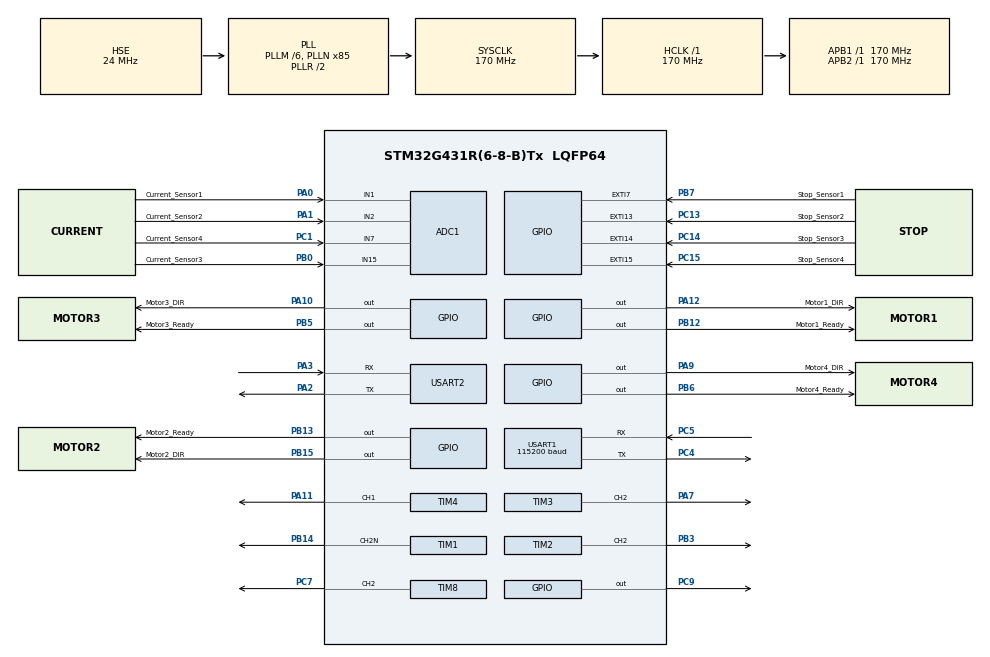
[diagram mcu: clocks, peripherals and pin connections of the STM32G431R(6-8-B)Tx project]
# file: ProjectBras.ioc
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ADC1.Channel-0\#ChannelRegularConversion=ADC_CHANNEL_1
ADC1.ContinuousConvMode=ENABLE
ADC1.EnableAnalogWatchDog2=true
ADC1.ExternalTrigConv=ADC_EXTERNALTRIG_T15_TRGO
ADC1.NbrOfConversion=1
ADC1.NbrOfConversionFlag=1
ADC1.OffsetNumber-0\#ChannelRegularConversion=ADC_OFFSET_NONE
ADC1.Rank-0\#ChannelRegularConversion=1
ADC1.SamplingTime-0\#ChannelRegularConversion=ADC_SAMPLETIME_47CYCLES_5
ADC1.master=1
Dma.ADC1.0.Direction=DMA_PERIPH_TO_MEMORY
Dma.ADC1.0.EventEnable=DISABLE
Dma.ADC1.0.Instance=DMA1_Channel1
Dma.ADC1.0.MemDataAlignment=DMA_MDATAALIGN_HALFWORD
Dma.ADC1.0.MemInc=DMA_MINC_ENABLE
Dma.ADC1.0.Mode=DMA_NORMAL
Dma.ADC1.0.PeriphDataAlignment=DMA_PDATAALIGN_HALFWORD
Dma.ADC1.0.PeriphInc=DMA_PINC_DISABLE
Dma.ADC1.0.Polarity=HAL_DMAMUX_REQ_GEN_RISING
Dma.ADC1.0.Priority=DMA_PRIORITY_LOW
Dma.ADC1.0.RequestNumber=1
Dma.ADC1.0.SignalID=NONE
Dma.ADC1.0.SyncEnable=DISABLE
Dma.ADC1.0.SyncPolarity=HAL_DMAMUX_SYNC_NO_EVENT
Dma.ADC1.0.SyncRequestNumber=1
Dma.ADC1.0.SyncSignalID=NONE
Dma.Request0=ADC1
Mcu.Family=STM32G4
Mcu.Name=STM32G431R(6-8-B)Tx
Mcu.Package=LQFP64
NVIC.DMA1_Channel1_IRQn=true\:0\:0\:false\:false\:true\:false\:true
NVIC.EXTI15_10_IRQn=true\:0\:0\:false\:false\:true\:true\:true
NVIC.EXTI9_5_IRQn=true\:0\:0\:false\:false\:true\:true\:true
NVIC.PriorityGroup=NVIC_PRIORITYGROUP_4
NVIC.TIM1_BRK_TIM15_IRQn=true\:0\:0\:false\:false\:true\:true\:true
NVIC.TIM1_CC_IRQn=true\:0\:0\:false\:false\:true\:true\:true
NVIC.TIM2_IRQn=true\:0\:0\:false\:false\:true\:true\:true
NVIC.TIM3_IRQn=true\:0\:0\:false\:false\:true\:true\:true
NVIC.TIM4_IRQn=true\:0\:0\:false\:false\:true\:true\:true
NVIC.TIM8_CC_IRQn=true\:0\:0\:false\:false\:true\:true\:true
NVIC.USART1_IRQn=true\:0\:0\:false\:false\:true\:true\:true
NVIC.USART2_IRQn=true\:0\:0\:false\:false\:true\:true\:true
PA0.GPIO_Label=Current_Sensor1
PA0.Mode=IN1-Single-Ended
PA0.Signal=ADC1_IN1
PA1.GPIO_Label=Current_Sensor2
PA1.Mode=IN2-Single-Ended
PA1.Signal=ADC1_IN2
PA10.GPIO_Label=Motor3_DIR
PA10.Signal=GPIO_Output
PA11.Signal=S_TIM4_CH1
PA12.GPIO_Label=Motor1_DIR
PA12.Signal=GPIO_Output
PA13.Mode=Serial_Wire
PA13.Signal=SYS_JTMS-SWDIO
PA14.Mode=Serial_Wire
PA14.Signal=SYS_JTCK-SWCLK
PA2.Mode=Asynchronous
PA2.Signal=USART2_TX
PA3.Mode=Asynchronous
PA3.Signal=USART2_RX
PA7.Signal=S_TIM3_CH2
PA9.GPIO_Label=Motor4_DIR
PA9.Signal=GPIO_Output
PB0.GPIO_Label=Current_Sensor3
PB0.Mode=IN15-Single-Ended
PB0.Signal=ADC1_IN15
PB12.GPIO_Label=Motor1_Ready
PB12.Signal=GPIO_Output
PB13.GPIO_Label=Motor2_Ready
PB13.Signal=GPIO_Output
PB14.Mode=PWM Generation2 CH2N
PB14.Signal=TIM1_CH2N
PB15.GPIO_Label=Motor2_DIR
PB15.Signal=GPIO_Output
PB3.Signal=S_TIM2_CH2
PB5.GPIO_Label=Motor3_Ready
PB5.Signal=GPIO_Output
PB6.GPIO_Label=Motor4_Ready
PB6.Signal=GPIO_Output
PB7.GPIO_Label=Stop_Sensor1
PB7.Signal=GPXTI7
PC1.GPIO_Label=Current_Sensor4
PC1.Mode=IN7-Single-Ended
PC1.Signal=ADC1_IN7
PC13.GPIO_Label=Stop_Sensor2
PC13.Signal=GPXTI13
PC14-OSC32_IN.GPIO_Label=Stop_Sensor3
PC14-OSC32_IN.Signal=GPXTI14
PC15-OSC32_OUT.GPIO_Label=Stop_Sensor4
PC15-OSC32_OUT.Signal=GPXTI15
PC4.Mode=Asynchronous
PC4.Signal=USART1_TX
PC5.Mode=Asynchronous
PC5.Signal=USART1_RX
PC7.Signal=S_TIM8_CH2
PC9.Signal=GPIO_Output
PF0-OSC_IN.Mode=HSE-External-Oscillator
PF0-OSC_IN.Signal=RCC_OSC_IN
PF1-OSC_OUT.Mode=HSE-External-Oscillator
PF1-OSC_OUT.Signal=RCC_OSC_OUT
ProjectManager.HeapSize=0x200
ProjectManager.StackSize=0x400
ProjectManager.TargetToolchain=STM32CubeIDE
RCC.ADC12Freq_Value=170000000
RCC.AHBFreq_Value=170000000
RCC.APB1Freq_Value=170000000
RCC.APB1TimFreq_Value=170000000
RCC.APB2Freq_Value=170000000
RCC.APB2TimFreq_Value=170000000
RCC.CortexFreq_Value=170000000
RCC.EXTERNAL_CLOCK_VALUE=12288000
RCC.HCLKFreq_Value=170000000
RCC.HSE_VALUE=24000000
RCC.HSI48_VALUE=48000000
RCC.HSI_VALUE=16000000
RCC.LSE_VALUE=32768
RCC.PLLM=RCC_PLLM_DIV6
RCC.PLLN=85
RCC.PLLSourceVirtual=RCC_PLLSOURCE_HSE
RCC.RTCClockSelection=RCC_RTCCLKSOURCE_LSE
RCC.SYSCLKFreq_VALUE=170000000
RCC.SYSCLKSource=RCC_SYSCLKSOURCE_PLLCLK
RCC.USBFreq_Value=170000000
RCC.VCOOutputFreq_Value=340000000
SH.S_TIM2_CH2.0=TIM2_CH2,PWM Generation2 CH2
SH.S_TIM3_CH2.0=TIM3_CH2,PWM Generation2 CH2
SH.S_TIM4_CH1.0=TIM4_CH1,PWM Generation1 CH1
SH.S_TIM8_CH2.0=TIM8_CH2,PWM Generation2 CH2
TIM1.Channel-PWM\ Generation2\ CH2N=TIM_CHANNEL_2
TIM1.PeriodNoDither=100-1
TIM1.Prescaler=170-1
TIM1.PulseNoDither_2=50
TIM15.PeriodNoDither=1000-1
TIM15.Prescaler=170-1
TIM15.TIM_MasterOutputTrigger=TIM_TRGO_UPDATE
TIM15.TIM_MasterSlaveMode=TIM_MASTERSLAVEMODE_ENABLE
TIM2.Channel-PWM\ Generation2\ CH2=TIM_CHANNEL_2
TIM2.PeriodNoDither=100-1
TIM2.Prescaler=170-1
TIM2.PulseNoDither_2=50
TIM3.Channel-PWM\ Generation2\ CH2=TIM_CHANNEL_2
TIM3.PeriodNoDither=10000-1
TIM3.Prescaler=340-1
TIM3.PulseNoDither_2=750
TIM4.Channel-PWM\ Generation1\ CH1=TIM_CHANNEL_1
TIM4.PeriodNoDither=100-1
TIM4.Prescaler=170-1
TIM4.PulseNoDither_1=50
TIM8.Channel-PWM\ Generation2\ CH2=TIM_CHANNEL_2
TIM8.PeriodNoDither=100-1
TIM8.Prescaler=170-1
TIM8.PulseNoDither_2=50
USART1.BaudRate=115200
USART1.VirtualMode-Asynchronous=VM_ASYNC
USART2.VirtualMode-Asynchronous=VM_ASYNC
VP_SYS_VS_DBSignals.Mode=DisableDeadBatterySignals
VP_TIM15_VS_ClockSourceINT.Mode=Internal
VP_TIM1_VS_ClockSourceINT.Mode=Internal
VP_TIM2_VS_ClockSourceINT.Mode=Internal
VP_TIM3_VS_ClockSourceINT.Mode=Internal
VP_TIM4_VS_ClockSourceINT.Mode=Internal
VP_TIM8_VS_ClockSourceINT.Mode=Internal
board=NUCLEO-G431RB

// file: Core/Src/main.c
/* USER CODE BEGIN Header */
/**
  ******************************************************************************
  * @file           : main.c
  * @brief          : Main program body
  * @author 		: COLONNETTE
  ******************************************************************************
  * @attention
  *
  * <h2><center>&copy; Copyright (c) 2021 STMicroelectronics.
  * All rights reserved.</center></h2>
  *
  * This software component is licensed by ST under BSD 3-Clause license,
  * the "License"; You may not use this file except in compliance with the
  * License. You may obtain a copy of the License at:
  *                        opensource.org/licenses/BSD-3-Clause
  *
  ******************************************************************************
  */
/* USER CODE END Header */
#include "main.h"

/* USER CODE BEGIN PD */
#define ADC_Buff_SIZE 10
/* USER CODE END PD */

ADC_HandleTypeDef hadc1;
DMA_HandleTypeDef hdma_adc1;

TIM_HandleTypeDef htim1;
TIM_HandleTypeDef htim2;
TIM_HandleTypeDef htim3;
TIM_HandleTypeDef htim4;
TIM_HandleTypeDef htim8;
TIM_HandleTypeDef htim15;

UART_HandleTypeDef huart1;
UART_HandleTypeDef huart2;

/* USER CODE BEGIN PV */
char esp_rx_buffer[32];
char esp_tx_buffer[32];
char CmdWaiting[10][6];
uint8_t idxByte=0;
uint8_t idxCmdWaiting=0;
uint8_t MsgFlag=0;
uint8_t MsgFlagLoad=0;

uint8_t Currentflag=0;
int courant=0;
uint16_t ADC_Buff[ADC_Buff_SIZE];
/* USER CODE END PV */

void SystemClock_Config(void);
static void MX_GPIO_Init(void);
static void MX_USART2_UART_Init(void);
static void MX_TIM1_Init(void);
static void MX_TIM2_Init(void);
static void MX_TIM3_Init(void);
static void MX_TIM4_Init(void);
static void MX_TIM8_Init(void);
static void MX_USART1_UART_Init(void);
static void MX_DMA_Init(void);
static void MX_ADC1_Init(void);
static void MX_TIM15_Init(void);

/* USER CODE BEGIN 0 */

/**
 * @param          :None
 * @retval		   :None
 * @brief          :Rençoit octet par octet, les morceaux de commande et les sauvegarde
 */
HAL_UART_RxCpltCallBack(UART_HandleTypeDef * uart) {
	sprintf((char *)uart_tx_buffer,"%s",esp_rx_buffer);
	HAL_UART_Transmit(&huart2, uart_tx_buffer, strlen(uart_tx_buffer), HAL_MAX_DELAY);

	/*
	sprintf((char *)CmdWaiting[idxCmdWaiting][idxByte],"%x",esp_rx_buffer);
	if (idxByte==5) {
		if (CmdWaiting[idxCmdWaiting][idxByte]=="OK")	MsgFlagLoad=1;
		else idxByte=0;
	}
	else if (MsgFlagLoad==1) {
		idxCmdWaiting++;
		idxByte=0;
	}
	else {
		idxByte++;
		if (idxByte==5) {
			MsgFlag=1;
		}
	}*/

	HAL_UART_Receive_IT(&huart1, esp_rx_buffer, 4);
}
/**
 * @param          :None
 * @retval		   :None
 * @brief          :Renvoit la commande reçue à valider d'un uart à l'autre et affiche la dernière commande validé
 */
void Response() {
	if (MsgFlag==1) {
		MsgFlag=0;
		/*sprintf((char *)esp_tx_buffer,"%s","CmdWaiting[idxCmdWaiting]");
		HAL_UART_Transmit(&huart1, esp_tx_buffer, strlen(esp_tx_buffer), HAL_MAX_DELAY);*/

		HAL_UART_Receive_IT(&huart1, esp_rx_buffer, 4);
	}
	else if (MsgFlagLoad==1) {
		MsgFlagLoad=0;
		sprintf((char *)esp_tx_buffer,"\r\nCmd reçu en hexa ");
		HAL_UART_Transmit(&huart2, esp_tx_buffer, strlen(esp_tx_buffer), HAL_MAX_DELAY);
		sprintf((char *)esp_tx_buffer,"%x %x %x %x %x %x ",CmdWaiting[0][0],CmdWaiting[0][1],CmdWaiting[0][2],CmdWaiting[0][3],CmdWaiting[0][4],CmdWaiting[0][5]);
		HAL_UART_Transmit(&huart2, esp_tx_buffer, strlen(esp_tx_buffer), HAL_MAX_DELAY);

		sprintf((char *)esp_tx_buffer,"\r\nCmd reçu en string ");
		HAL_UART_Transmit(&huart2, esp_tx_buffer, strlen(esp_tx_buffer), HAL_MAX_DELAY);
		sprintf((char *)esp_tx_buffer,"%s %s %s %s %s %s ",CmdWaiting[1][0],CmdWaiting[1][1],CmdWaiting[1][2],CmdWaiting[1][3],CmdWaiting[1][4],CmdWaiting[1][5]);
		HAL_UART_Transmit(&huart2, esp_tx_buffer, strlen(esp_tx_buffer), HAL_MAX_DELAY);

		sprintf((char *)esp_tx_buffer,"\r\nCmd reçu en deci ");
		HAL_UART_Transmit(&huart2, esp_tx_buffer, strlen(esp_tx_buffer), HAL_MAX_DELAY);
		sprintf((char *)esp_tx_buffer,"%d %d %d %d %d %d ",CmdWaiting[2][0],CmdWaiting[2][1],CmdWaiting[2][2],CmdWaiting[2][3],CmdWaiting[2][4],CmdWaiting[2][5]);
		HAL_UART_Transmit(&huart2, esp_tx_buffer, strlen(esp_tx_buffer), HAL_MAX_DELAY);
	}
}

void HAL_ADC_ConvCpltCallback(ADC_HandleTypeDef* hadc) {
	if (HAL_OK!=HAL_ADC_Start_DMA(&hadc1,ADC_Buff,ADC_Buff_SIZE)) Error_Handler();
	Currentflag=1;
}

/**
 * @param          :None
 * @retval		   :None
 * @brief          :Change les variables sauvegardant la moyenne des mesures de courant dès que le DMA à terminer
 * @attention
 * Cette fonction n'est pas encore opérationnelle
 */
void CurrentMeasure() {
	if (Currentflag==1) {
		courant=0;
		for (int idx=0;idx<ADC_Buff_SIZE;idx++) {
			courant=courant+ADC_Buff[idx];
		}
		courant=courant/ADC_Buff_SIZE;
		sprintf((char *)uart_tx_buffer,"\r\n%4d, V=%2.2f, i=%0.4fmA",courant,(float) ((float)courant*3.3)/4095.0,(float)(((float)courant*3.3)/4095)/12);
		HAL_UART_Transmit(&huart2, uart_tx_buffer, 26, HAL_MAX_DELAY);
		Currentflag=0;
	}
}
/**
 * @param          :None
 * @retval		   :None
 * @brief          :Exécute les commandes dans l'ordre sauvegardé par le buffer de commande en attente
 * @attention
 * Cette fonction n'est pas encore optimisée
 */
void ExecCmd() {
	while (idxCmdWaiting>0) {
		//CprCommande(CmdWaiting[idxCmdWaiting]);
		idxCmdWaiting--;
	}
}
/* USER CODE END 0 */

int main(void)
{

  /* MCU Configuration--------------------------------------------------------*/

  /* Reset of all peripherals, Initializes the Flash interface and the Systick. */
  HAL_Init();

  /* Configure the system clock */
  SystemClock_Config();

  /* Initialize all configured peripherals */
  MX_GPIO_Init();
  MX_USART2_UART_Init();
  MX_TIM1_Init();
  MX_TIM2_Init();
  MX_TIM3_Init();
  MX_TIM4_Init();
  MX_TIM8_Init();
  MX_USART1_UART_Init();
  MX_DMA_Init();
  MX_ADC1_Init();
  MX_TIM15_Init();
  /* USER CODE BEGIN 2 */
  if (HAL_OK!=HAL_ADCEx_Calibration_Start(&hadc1,ADC_SINGLE_ENDED)) Error_Handler();
  if (HAL_OK!=HAL_ADC_Start_DMA(&hadc1,ADC_Buff,ADC_Buff_SIZE)) Error_Handler();
  //La calibration du timer15 déclenchant le DMA est à affiner
  //if (HAL_OK!=HAL_TIM_Base_Start_IT(&htim15)) Error_Handler();

  Uartprint((char * ) starting,-1);
  Uartprint((char *) prompt,-1);

  MotorInit();
  HAL_UART_Receive_IT(&huart1, esp_rx_buffer,4);
  /* USER CODE END 2 */

  /* Infinite loop */
  /* USER CODE BEGIN WHILE */
  while (1)
  {
	  RunConsole();
	  HAL_UART_Receive_IT(&huart1, esp_rx_buffer,4);
	  if (MsgFlag==1) Response();
	  //CurrentMeasure();
	  //ExecCmd();

    /* USER CODE END WHILE */

  }
}

void SystemClock_Config(void)
{
  RCC_OscInitTypeDef RCC_OscInitStruct = {0};
  RCC_ClkInitTypeDef RCC_ClkInitStruct = {0};
  RCC_PeriphCLKInitTypeDef PeriphClkInit = {0};

  /** Configure the main internal regulator output voltage
  */
  HAL_PWREx_ControlVoltageScaling(PWR_REGULATOR_VOLTAGE_SCALE1_BOOST);
  /** Initializes the RCC Oscillators according to the specified parameters
  * in the RCC_OscInitTypeDef structure.
  */
  RCC_OscInitStruct.OscillatorType = RCC_OSCILLATORTYPE_HSE;
  RCC_OscInitStruct.HSEState = RCC_HSE_ON;
  RCC_OscInitStruct.PLL.PLLState = RCC_PLL_ON;
  RCC_OscInitStruct.PLL.PLLSource = RCC_PLLSOURCE_HSE;
  RCC_OscInitStruct.PLL.PLLM = RCC_PLLM_DIV6;
  RCC_OscInitStruct.PLL.PLLN = 85;
  RCC_OscInitStruct.PLL.PLLP = RCC_PLLP_DIV2;
  RCC_OscInitStruct.PLL.PLLQ = RCC_PLLQ_DIV2;
  RCC_OscInitStruct.PLL.PLLR = RCC_PLLR_DIV2;
  if (HAL_RCC_OscConfig(&RCC_OscInitStruct) != HAL_OK)
  {
    Error_Handler();
  }
  /** Initializes the CPU, AHB and APB buses clocks
  */
  RCC_ClkInitStruct.ClockType = RCC_CLOCKTYPE_HCLK|RCC_CLOCKTYPE_SYSCLK
                              |RCC_CLOCKTYPE_PCLK1|RCC_CLOCKTYPE_PCLK2;
  RCC_ClkInitStruct.SYSCLKSource = RCC_SYSCLKSOURCE_PLLCLK;
  RCC_ClkInitStruct.AHBCLKDivider = RCC_SYSCLK_DIV1;
  RCC_ClkInitStruct.APB1CLKDivider = RCC_HCLK_DIV1;
  RCC_ClkInitStruct.APB2CLKDivider = RCC_HCLK_DIV1;

  if (HAL_RCC_ClockConfig(&RCC_ClkInitStruct, FLASH_LATENCY_4) != HAL_OK)
  {
    Error_Handler();
  }
  /** Initializes the peripherals clocks
  */
  PeriphClkInit.PeriphClockSelection = RCC_PERIPHCLK_USART1|RCC_PERIPHCLK_USART2
                              |RCC_PERIPHCLK_ADC12;
  PeriphClkInit.Usart1ClockSelection = RCC_USART1CLKSOURCE_PCLK2;
  PeriphClkInit.Usart2ClockSelection = RCC_USART2CLKSOURCE_PCLK1;
  PeriphClkInit.Adc12ClockSelection = RCC_ADC12CLKSOURCE_SYSCLK;
  if (HAL_RCCEx_PeriphCLKConfig(&PeriphClkInit) != HAL_OK)
  {
    Error_Handler();
  }
}

static void MX_ADC1_Init(void)
{

  ADC_MultiModeTypeDef multimode = {0};
  ADC_ChannelConfTypeDef sConfig = {0};

  /** Common config
  */
  hadc1.Instance = ADC1;
  hadc1.Init.ClockPrescaler = ADC_CLOCK_SYNC_PCLK_DIV4;
  hadc1.Init.Resolution = ADC_RESOLUTION_12B;
  hadc1.Init.DataAlign = ADC_DATAALIGN_RIGHT;
  hadc1.Init.GainCompensation = 0;
  hadc1.Init.ScanConvMode = ADC_SCAN_DISABLE;
  hadc1.Init.EOCSelection = ADC_EOC_SINGLE_CONV;
  hadc1.Init.LowPowerAutoWait = DISABLE;
  hadc1.Init.ContinuousConvMode = ENABLE;
  hadc1.Init.NbrOfConversion = 1;
  hadc1.Init.DiscontinuousConvMode = DISABLE;
  hadc1.Init.ExternalTrigConv = ADC_EXTERNALTRIG_T15_TRGO;
  hadc1.Init.ExternalTrigConvEdge = ADC_EXTERNALTRIGCONVEDGE_RISING;
  hadc1.Init.DMAContinuousRequests = DISABLE;
  hadc1.Init.Overrun = ADC_OVR_DATA_PRESERVED;
  hadc1.Init.OversamplingMode = DISABLE;
  if (HAL_ADC_Init(&hadc1) != HAL_OK)
  {
    Error_Handler();
  }
  /** Configure the ADC multi-mode
  */
  multimode.Mode = ADC_MODE_INDEPENDENT;
  if (HAL_ADCEx_MultiModeConfigChannel(&hadc1, &multimode) != HAL_OK)
  {
    Error_Handler();
  }
  /** Configure Regular Channel
  */
  sConfig.Channel = ADC_CHANNEL_1;
  sConfig.Rank = ADC_REGULAR_RANK_1;
  sConfig.SamplingTime = ADC_SAMPLETIME_47CYCLES_5;
  sConfig.SingleDiff = ADC_SINGLE_ENDED;
  sConfig.OffsetNumber = ADC_OFFSET_NONE;
  sConfig.Offset = 0;
  if (HAL_ADC_ConfigChannel(&hadc1, &sConfig) != HAL_OK)
  {
    Error_Handler();
  }

}

static void MX_TIM1_Init(void)
{

  TIM_ClockConfigTypeDef sClockSourceConfig = {0};
  TIM_MasterConfigTypeDef sMasterConfig = {0};
  TIM_OC_InitTypeDef sConfigOC = {0};
  TIM_BreakDeadTimeConfigTypeDef sBreakDeadTimeConfig = {0};

  htim1.Instance = TIM1;
  htim1.Init.Prescaler = 170-1;
  htim1.Init.CounterMode = TIM_COUNTERMODE_UP;
  htim1.Init.Period = 99;
  htim1.Init.ClockDivision = TIM_CLOCKDIVISION_DIV1;
  htim1.Init.RepetitionCounter = 0;
  htim1.Init.AutoReloadPreload = TIM_AUTORELOAD_PRELOAD_DISABLE;
  if (HAL_TIM_Base_Init(&htim1) != HAL_OK)
  {
    Error_Handler();
  }
  sClockSourceConfig.ClockSource = TIM_CLOCKSOURCE_INTERNAL;
  if (HAL_TIM_ConfigClockSource(&htim1, &sClockSourceConfig) != HAL_OK)
  {
    Error_Handler();
  }
  if (HAL_TIM_PWM_Init(&htim1) != HAL_OK)
  {
    Error_Handler();
  }
  sMasterConfig.MasterOutputTrigger = TIM_TRGO_RESET;
  sMasterConfig.MasterOutputTrigger2 = TIM_TRGO2_RESET;
  sMasterConfig.MasterSlaveMode = TIM_MASTERSLAVEMODE_DISABLE;
  if (HAL_TIMEx_MasterConfigSynchronization(&htim1, &sMasterConfig) != HAL_OK)
  {
    Error_Handler();
  }
  sConfigOC.OCMode = TIM_OCMODE_PWM1;
  sConfigOC.Pulse = 50;
  sConfigOC.OCPolarity = TIM_OCPOLARITY_HIGH;
  sConfigOC.OCNPolarity = TIM_OCNPOLARITY_HIGH;
  sConfigOC.OCFastMode = TIM_OCFAST_DISABLE;
  sConfigOC.OCIdleState = TIM_OCIDLESTATE_RESET;
  sConfigOC.OCNIdleState = TIM_OCNIDLESTATE_RESET;
  if (HAL_TIM_PWM_ConfigChannel(&htim1, &sConfigOC, TIM_CHANNEL_2) != HAL_OK)
  {
    Error_Handler();
  }
  sBreakDeadTimeConfig.OffStateRunMode = TIM_OSSR_DISABLE;
  sBreakDeadTimeConfig.OffStateIDLEMode = TIM_OSSI_DISABLE;
  sBreakDeadTimeConfig.LockLevel = TIM_LOCKLEVEL_OFF;
  sBreakDeadTimeConfig.DeadTime = 0;
  sBreakDeadTimeConfig.BreakState = TIM_BREAK_DISABLE;
  sBreakDeadTimeConfig.BreakPolarity = TIM_BREAKPOLARITY_HIGH;
  sBreakDeadTimeConfig.BreakFilter = 0;
  sBreakDeadTimeConfig.BreakAFMode = TIM_BREAK_AFMODE_INPUT;
  sBreakDeadTimeConfig.Break2State = TIM_BREAK2_DISABLE;
  sBreakDeadTimeConfig.Break2Polarity = TIM_BREAK2POLARITY_HIGH;
  sBreakDeadTimeConfig.Break2Filter = 0;
  sBreakDeadTimeConfig.Break2AFMode = TIM_BREAK_AFMODE_INPUT;
  sBreakDeadTimeConfig.AutomaticOutput = TIM_AUTOMATICOUTPUT_DISABLE;
  if (HAL_TIMEx_ConfigBreakDeadTime(&htim1, &sBreakDeadTimeConfig) != HAL_OK)
  {
    Error_Handler();
  }
  HAL_TIM_MspPostInit(&htim1);

}

static void MX_TIM2_Init(void)
{

  TIM_ClockConfigTypeDef sClockSourceConfig = {0};
  TIM_MasterConfigTypeDef sMasterConfig = {0};
  TIM_OC_InitTypeDef sConfigOC = {0};

  htim2.Instance = TIM2;
  htim2.Init.Prescaler = 170-1;
  htim2.Init.CounterMode = TIM_COUNTERMODE_UP;
  htim2.Init.Period = 99;
  htim2.Init.ClockDivision = TIM_CLOCKDIVISION_DIV1;
  htim2.Init.AutoReloadPreload = TIM_AUTORELOAD_PRELOAD_DISABLE;
  if (HAL_TIM_Base_Init(&htim2) != HAL_OK)
  {
    Error_Handler();
  }
  sClockSourceConfig.ClockSource = TIM_CLOCKSOURCE_INTERNAL;
  if (HAL_TIM_ConfigClockSource(&htim2, &sClockSourceConfig) != HAL_OK)
  {
    Error_Handler();
  }
  if (HAL_TIM_PWM_Init(&htim2) != HAL_OK)
  {
    Error_Handler();
  }
  sMasterConfig.MasterOutputTrigger = TIM_TRGO_RESET;
  sMasterConfig.MasterSlaveMode = TIM_MASTERSLAVEMODE_DISABLE;
  if (HAL_TIMEx_MasterConfigSynchronization(&htim2, &sMasterConfig) != HAL_OK)
  {
    Error_Handler();
  }
  sConfigOC.OCMode = TIM_OCMODE_PWM1;
  sConfigOC.Pulse = 50;
  sConfigOC.OCPolarity = TIM_OCPOLARITY_HIGH;
  sConfigOC.OCFastMode = TIM_OCFAST_DISABLE;
  if (HAL_TIM_PWM_ConfigChannel(&htim2, &sConfigOC, TIM_CHANNEL_2) != HAL_OK)
  {
    Error_Handler();
  }
  HAL_TIM_MspPostInit(&htim2);

}

static void MX_TIM3_Init(void)
{

  TIM_ClockConfigTypeDef sClockSourceConfig = {0};
  TIM_MasterConfigTypeDef sMasterConfig = {0};
  TIM_OC_InitTypeDef sConfigOC = {0};

  htim3.Instance = TIM3;
  htim3.Init.Prescaler = 340-1;
  htim3.Init.CounterMode = TIM_COUNTERMODE_UP;
  htim3.Init.Period = 9999;
  htim3.Init.ClockDivision = TIM_CLOCKDIVISION_DIV1;
  htim3.Init.AutoReloadPreload = TIM_AUTORELOAD_PRELOAD_DISABLE;
  if (HAL_TIM_Base_Init(&htim3) != HAL_OK)
  {
    Error_Handler();
  }
  sClockSourceConfig.ClockSource = TIM_CLOCKSOURCE_INTERNAL;
  if (HAL_TIM_ConfigClockSource(&htim3, &sClockSourceConfig) != HAL_OK)
  {
    Error_Handler();
  }
  if (HAL_TIM_PWM_Init(&htim3) != HAL_OK)
  {
    Error_Handler();
  }
  sMasterConfig.MasterOutputTrigger = TIM_TRGO_RESET;
  sMasterConfig.MasterSlaveMode = TIM_MASTERSLAVEMODE_DISABLE;
  if (HAL_TIMEx_MasterConfigSynchronization(&htim3, &sMasterConfig) != HAL_OK)
  {
    Error_Handler();
  }
  sConfigOC.OCMode = TIM_OCMODE_PWM1;
  sConfigOC.Pulse = 750;
  sConfigOC.OCPolarity = TIM_OCPOLARITY_HIGH;
  sConfigOC.OCFastMode = TIM_OCFAST_DISABLE;
  if (HAL_TIM_PWM_ConfigChannel(&htim3, &sConfigOC, TIM_CHANNEL_2) != HAL_OK)
  {
    Error_Handler();
  }
  HAL_TIM_MspPostInit(&htim3);

}

static void MX_TIM4_Init(void)
{

  TIM_ClockConfigTypeDef sClockSourceConfig = {0};
  TIM_MasterConfigTypeDef sMasterConfig = {0};
  TIM_OC_InitTypeDef sConfigOC = {0};

  htim4.Instance = TIM4;
  htim4.Init.Prescaler = 170-1;
  htim4.Init.CounterMode = TIM_COUNTERMODE_UP;
  htim4.Init.Period = 99;
  htim4.Init.ClockDivision = TIM_CLOCKDIVISION_DIV1;
  htim4.Init.AutoReloadPreload = TIM_AUTORELOAD_PRELOAD_DISABLE;
  if (HAL_TIM_Base_Init(&htim4) != HAL_OK)
  {
    Error_Handler();
  }
  sClockSourceConfig.ClockSource = TIM_CLOCKSOURCE_INTERNAL;
  if (HAL_TIM_ConfigClockSource(&htim4, &sClockSourceConfig) != HAL_OK)
  {
    Error_Handler();
  }
  if (HAL_TIM_PWM_Init(&htim4) != HAL_OK)
  {
    Error_Handler();
  }
  sMasterConfig.MasterOutputTrigger = TIM_TRGO_RESET;
  sMasterConfig.MasterSlaveMode = TIM_MASTERSLAVEMODE_DISABLE;
  if (HAL_TIMEx_MasterConfigSynchronization(&htim4, &sMasterConfig) != HAL_OK)
  {
    Error_Handler();
  }
  sConfigOC.OCMode = TIM_OCMODE_PWM1;
  sConfigOC.Pulse = 50;
  sConfigOC.OCPolarity = TIM_OCPOLARITY_HIGH;
  sConfigOC.OCFastMode = TIM_OCFAST_DISABLE;
  if (HAL_TIM_PWM_ConfigChannel(&htim4, &sConfigOC, TIM_CHANNEL_1) != HAL_OK)
  {
    Error_Handler();
  }
  HAL_TIM_MspPostInit(&htim4);

}

static void MX_TIM8_Init(void)
{

  TIM_ClockConfigTypeDef sClockSourceConfig = {0};
  TIM_MasterConfigTypeDef sMasterConfig = {0};
  TIM_OC_InitTypeDef sConfigOC = {0};
  TIM_BreakDeadTimeConfigTypeDef sBreakDeadTimeConfig = {0};

  htim8.Instance = TIM8;
  htim8.Init.Prescaler = 170-1;
  htim8.Init.CounterMode = TIM_COUNTERMODE_UP;
  htim8.Init.Period = 99;
  htim8.Init.ClockDivision = TIM_CLOCKDIVISION_DIV1;
  htim8.Init.RepetitionCounter = 0;
  htim8.Init.AutoReloadPreload = TIM_AUTORELOAD_PRELOAD_DISABLE;
  if (HAL_TIM_Base_Init(&htim8) != HAL_OK)
  {
    Error_Handler();
  }
  sClockSourceConfig.ClockSource = TIM_CLOCKSOURCE_INTERNAL;
  if (HAL_TIM_ConfigClockSource(&htim8, &sClockSourceConfig) != HAL_OK)
  {
    Error_Handler();
  }
  if (HAL_TIM_PWM_Init(&htim8) != HAL_OK)
  {
    Error_Handler();
  }
  sMasterConfig.MasterOutputTrigger = TIM_TRGO_RESET;
  sMasterConfig.MasterOutputTrigger2 = TIM_TRGO2_RESET;
  sMasterConfig.MasterSlaveMode = TIM_MASTERSLAVEMODE_DISABLE;
  if (HAL_TIMEx_MasterConfigSynchronization(&htim8, &sMasterConfig) != HAL_OK)
  {
    Error_Handler();
  }
  sConfigOC.OCMode = TIM_OCMODE_PWM1;
  sConfigOC.Pulse = 50;
  sConfigOC.OCPolarity = TIM_OCPOLARITY_HIGH;
  sConfigOC.OCNPolarity = TIM_OCNPOLARITY_HIGH;
  sConfigOC.OCFastMode = TIM_OCFAST_DISABLE;
  sConfigOC.OCIdleState = TIM_OCIDLESTATE_RESET;
  sConfigOC.OCNIdleState = TIM_OCNIDLESTATE_RESET;
  if (HAL_TIM_PWM_ConfigChannel(&htim8, &sConfigOC, TIM_CHANNEL_2) != HAL_OK)
  {
    Error_Handler();
  }
  sBreakDeadTimeConfig.OffStateRunMode = TIM_OSSR_DISABLE;
  sBreakDeadTimeConfig.OffStateIDLEMode = TIM_OSSI_DISABLE;
  sBreakDeadTimeConfig.LockLevel = TIM_LOCKLEVEL_OFF;
  sBreakDeadTimeConfig.DeadTime = 0;
  sBreakDeadTimeConfig.BreakState = TIM_BREAK_DISABLE;
  sBreakDeadTimeConfig.BreakPolarity = TIM_BREAKPOLARITY_HIGH;
  sBreakDeadTimeConfig.BreakFilter = 0;
  sBreakDeadTimeConfig.BreakAFMode = TIM_BREAK_AFMODE_INPUT;
  sBreakDeadTimeConfig.Break2State = TIM_BREAK2_DISABLE;
  sBreakDeadTimeConfig.Break2Polarity = TIM_BREAK2POLARITY_HIGH;
  sBreakDeadTimeConfig.Break2Filter = 0;
  sBreakDeadTimeConfig.Break2AFMode = TIM_BREAK_AFMODE_INPUT;
  sBreakDeadTimeConfig.AutomaticOutput = TIM_AUTOMATICOUTPUT_DISABLE;
  if (HAL_TIMEx_ConfigBreakDeadTime(&htim8, &sBreakDeadTimeConfig) != HAL_OK)
  {
    Error_Handler();
  }
  HAL_TIM_MspPostInit(&htim8);

}

static void MX_TIM15_Init(void)
{

  TIM_ClockConfigTypeDef sClockSourceConfig = {0};
  TIM_MasterConfigTypeDef sMasterConfig = {0};

  htim15.Instance = TIM15;
  htim15.Init.Prescaler = 170-1;
  htim15.Init.CounterMode = TIM_COUNTERMODE_UP;
  htim15.Init.Period = 999;
  htim15.Init.ClockDivision = TIM_CLOCKDIVISION_DIV1;
  htim15.Init.RepetitionCounter = 0;
  htim15.Init.AutoReloadPreload = TIM_AUTORELOAD_PRELOAD_DISABLE;
  if (HAL_TIM_Base_Init(&htim15) != HAL_OK)
  {
    Error_Handler();
  }
  sClockSourceConfig.ClockSource = TIM_CLOCKSOURCE_INTERNAL;
  if (HAL_TIM_ConfigClockSource(&htim15, &sClockSourceConfig) != HAL_OK)
  {
    Error_Handler();
  }
  sMasterConfig.MasterOutputTrigger = TIM_TRGO_UPDATE;
  sMasterConfig.MasterSlaveMode = TIM_MASTERSLAVEMODE_ENABLE;
  if (HAL_TIMEx_MasterConfigSynchronization(&htim15, &sMasterConfig) != HAL_OK)
  {
    Error_Handler();
  }

}

static void MX_USART1_UART_Init(void)
{

  huart1.Instance = USART1;
  huart1.Init.BaudRate = 115200;
  huart1.Init.WordLength = UART_WORDLENGTH_8B;
  huart1.Init.StopBits = UART_STOPBITS_1;
  huart1.Init.Parity = UART_PARITY_NONE;
  huart1.Init.Mode = UART_MODE_TX_RX;
  huart1.Init.HwFlowCtl = UART_HWCONTROL_NONE;
  huart1.Init.OverSampling = UART_OVERSAMPLING_16;
  huart1.Init.OneBitSampling = UART_ONE_BIT_SAMPLE_DISABLE;
  huart1.Init.ClockPrescaler = UART_PRESCALER_DIV1;
  huart1.AdvancedInit.AdvFeatureInit = UART_ADVFEATURE_NO_INIT;
  if (HAL_UART_Init(&huart1) != HAL_OK)
  {
    Error_Handler();
  }
  if (HAL_UARTEx_SetTxFifoThreshold(&huart1, UART_TXFIFO_THRESHOLD_1_8) != HAL_OK)
  {
    Error_Handler();
  }
  if (HAL_UARTEx_SetRxFifoThreshold(&huart1, UART_RXFIFO_THRESHOLD_1_8) != HAL_OK)
  {
    Error_Handler();
  }
  if (HAL_UARTEx_DisableFifoMode(&huart1) != HAL_OK)
  {
    Error_Handler();
  }

}

static void MX_USART2_UART_Init(void)
{

  huart2.Instance = USART2;
  huart2.Init.BaudRate = 115200;
  huart2.Init.WordLength = UART_WORDLENGTH_8B;
  huart2.Init.StopBits = UART_STOPBITS_1;
  huart2.Init.Parity = UART_PARITY_NONE;
  huart2.Init.Mode = UART_MODE_TX_RX;
  huart2.Init.HwFlowCtl = UART_HWCONTROL_NONE;
  huart2.Init.OverSampling = UART_OVERSAMPLING_16;
  huart2.Init.OneBitSampling = UART_ONE_BIT_SAMPLE_DISABLE;
  huart2.Init.ClockPrescaler = UART_PRESCALER_DIV1;
  huart2.AdvancedInit.AdvFeatureInit = UART_ADVFEATURE_NO_INIT;
  if (HAL_UART_Init(&huart2) != HAL_OK)
  {
    Error_Handler();
  }
  if (HAL_UARTEx_SetTxFifoThreshold(&huart2, UART_TXFIFO_THRESHOLD_1_8) != HAL_OK)
  {
    Error_Handler();
  }
  if (HAL_UARTEx_SetRxFifoThreshold(&huart2, UART_RXFIFO_THRESHOLD_1_8) != HAL_OK)
  {
    Error_Handler();
  }
  if (HAL_UARTEx_DisableFifoMode(&huart2) != HAL_OK)
  {
    Error_Handler();
  }

}

static void MX_DMA_Init(void)
{

  /* DMA controller clock enable */
  __HAL_RCC_DMAMUX1_CLK_ENABLE();
  __HAL_RCC_DMA1_CLK_ENABLE();

  /* DMA interrupt init */
  /* DMA1_Channel1_IRQn interrupt configuration */
  HAL_NVIC_SetPriority(DMA1_Channel1_IRQn, 0, 0);
  HAL_NVIC_EnableIRQ(DMA1_Channel1_IRQn);

}

static void MX_GPIO_Init(void)
{
  GPIO_InitTypeDef GPIO_InitStruct = {0};

  /* GPIO Ports Clock Enable */
  __HAL_RCC_GPIOC_CLK_ENABLE();
  __HAL_RCC_GPIOF_CLK_ENABLE();
  __HAL_RCC_GPIOA_CLK_ENABLE();
  __HAL_RCC_GPIOB_CLK_ENABLE();

  /*Configure GPIO pin Output Level */
  HAL_GPIO_WritePin(GPIOB, Motor1_Ready_Pin|Motor2_Ready_Pin|Motor2_DIR_Pin|Motor3_Ready_Pin
                          |Motor4_Ready_Pin, GPIO_PIN_RESET);

  /*Configure GPIO pin Output Level */
  HAL_GPIO_WritePin(GPIOC, GPIO_PIN_9, GPIO_PIN_RESET);

  /*Configure GPIO pin Output Level */
  HAL_GPIO_WritePin(GPIOA, Motor4_DIR_Pin|Motor3_DIR_Pin|Motor1_DIR_Pin, GPIO_PIN_RESET);

  /*Configure GPIO pins : Stop_Sensor2_Pin Stop_Sensor3_Pin Stop_Sensor4_Pin */
  GPIO_InitStruct.Pin = Stop_Sensor2_Pin|Stop_Sensor3_Pin|Stop_Sensor4_Pin;
  GPIO_InitStruct.Mode = GPIO_MODE_IT_RISING;
  GPIO_InitStruct.Pull = GPIO_NOPULL;
  HAL_GPIO_Init(GPIOC, &GPIO_InitStruct);

  /*Configure GPIO pins : Motor1_Ready_Pin Motor2_Ready_Pin Motor2_DIR_Pin Motor3_Ready_Pin
                           Motor4_Ready_Pin */
  GPIO_InitStruct.Pin = Motor1_Ready_Pin|Motor2_Ready_Pin|Motor2_DIR_Pin|Motor3_Ready_Pin
                          |Motor4_Ready_Pin;
  GPIO_InitStruct.Mode = GPIO_MODE_OUTPUT_PP;
  GPIO_InitStruct.Pull = GPIO_NOPULL;
  GPIO_InitStruct.Speed = GPIO_SPEED_FREQ_LOW;
  HAL_GPIO_Init(GPIOB, &GPIO_InitStruct);

  /*Configure GPIO pin : PC9 */
  GPIO_InitStruct.Pin = GPIO_PIN_9;
  GPIO_InitStruct.Mode = GPIO_MODE_OUTPUT_PP;
  GPIO_InitStruct.Pull = GPIO_NOPULL;
  GPIO_InitStruct.Speed = GPIO_SPEED_FREQ_LOW;
  HAL_GPIO_Init(GPIOC, &GPIO_InitStruct);

  /*Configure GPIO pins : Motor4_DIR_Pin Motor3_DIR_Pin Motor1_DIR_Pin */
  GPIO_InitStruct.Pin = Motor4_DIR_Pin|Motor3_DIR_Pin|Motor1_DIR_Pin;
  GPIO_InitStruct.Mode = GPIO_MODE_OUTPUT_PP;
  GPIO_InitStruct.Pull = GPIO_NOPULL;
  GPIO_InitStruct.Speed = GPIO_SPEED_FREQ_LOW;
  HAL_GPIO_Init(GPIOA, &GPIO_InitStruct);

  /*Configure GPIO pin : Stop_Sensor1_Pin */
  GPIO_InitStruct.Pin = Stop_Sensor1_Pin;
  GPIO_InitStruct.Mode = GPIO_MODE_IT_RISING;
  GPIO_InitStruct.Pull = GPIO_NOPULL;
  HAL_GPIO_Init(Stop_Sensor1_GPIO_Port, &GPIO_InitStruct);

  /* EXTI interrupt init*/
  HAL_NVIC_SetPriority(EXTI9_5_IRQn, 0, 0);
  HAL_NVIC_EnableIRQ(EXTI9_5_IRQn);

  HAL_NVIC_SetPriority(EXTI15_10_IRQn, 0, 0);
  HAL_NVIC_EnableIRQ(EXTI15_10_IRQn);

}

void Error_Handler(void)
{
  /* USER CODE BEGIN Error_Handler_Debug */
  /* User can add his own implementation to report the HAL error return state */
  __disable_irq();
  while (1)
  {
		sprintf((char *)uart_tx_buffer,"\r\nError critique");
		HAL_UART_Transmit(&huart2, uart_tx_buffer, strlen(uart_tx_buffer), HAL_MAX_DELAY);
  }
  /* USER CODE END Error_Handler_Debug */
}

/************************ (C) COPYRIGHT STMicroelectronics *****END OF FILE****/
